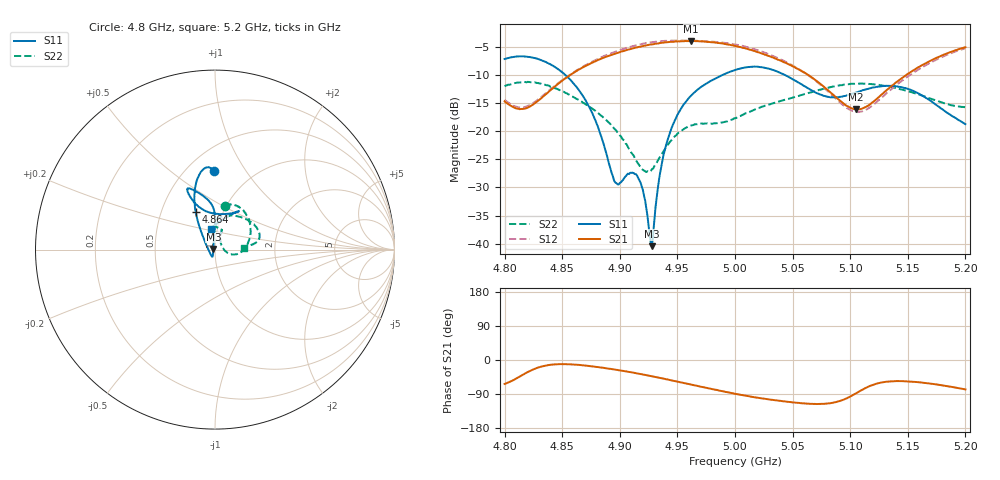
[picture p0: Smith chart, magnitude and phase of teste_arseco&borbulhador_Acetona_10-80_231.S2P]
! Network Analyzer HP8722D
! Hewlett-Packard
! Data name: Linha & Wilkinson
! Saver's name: Rodrigo Anjos
! Comments: Teste da utilização de aquisição
! continua pelo VNA HP8722D
! Time and date: 25/4/2025 17:11
!  Frequency  S11  S21  S12  S22
# HZ  S  MA R 50
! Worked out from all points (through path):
!   401 points, 4.8 GHz to 5.2 GHz, reference 50 ohm
!   highest |S21| = -4.00 dB at 4.962 GHz (marker M1); lowest = -16.2 dB at 5.105 GHz (marker M2)
!   lowest |S11| = -40.4 dB at 4.928 GHz (marker M3), VSWR 1.02, Z = 49.1 + j0.301 ohm
!   |S11| at or under -10 dB: 4.853 GHz to 4.99 GHz (137.1 MHz wide, 2.79 % of centre); 5.043 GHz to end of sweep
!   |S22| runs from -27.3 to -11.3 dB; largest |S21 - S12| = 1.2
!   S11 on the Smith chart (normalised r, x): 4.8 GHz: 0.67, +0.72; 4.864 GHz: 0.74, +0.33; 5.2 GHz: 0.93, +0.21
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4.8e9  0.4363 90.9  0.1841 -63.2  0.1893 70.0  0.2502 76.7
4.82e9  0.4553 97.3  0.1616 -31.8  0.1671 98.9  0.2736 61.6
4.844e9  0.3686 107.2  0.2509 -11.5  0.2538 119.2  0.2395 35.3
4.864e9  0.235 117.2  0.3499 -12.8  0.353 120.9  0.1896 11.9
4.867e9  0.2123 118.9  0.3637 -13.9  0.3673 120.6  0.1824 8.6
4.88e9  0.1155 129.2  0.4221 -18.5  0.4324 118.1  0.1473 -5.0
4.896e9  0.03504 -171.9  0.4874 -25.6  0.5067 113.1  0.1034 -15.1
4.916e9  0.0383 -108.7  0.5577 -36.0  0.5835 104.0  0.05128 -1.0
4.921e9  0.02682 -115.5  0.5725 -38.8  0.5993 101.2  0.04464 14.0
4.926e9  0.01177 -149.6  0.5853 -41.9  0.611 98.2  0.04356 34.8
4.928e9  0.009533 161.2  0.5891 -43.0  0.6147 96.8  0.04604 41.2
4.934e9  0.03682 102.1  0.6011 -46.7  0.6265 93.1  0.05725 58.0
4.939e9  0.06765 95.1  0.6121 -49.8  0.6321 89.9  0.06874 64.6
4.945e9  0.1069 91.4  0.6195 -53.8  0.6361 86.2  0.08337 68.7
4.962e9  0.2071 90.6  0.6307 -64.9  0.6356 75.3  0.1122 70.0
5e9  0.3479 109.3  0.5703 -89.2  0.5879 50.8  0.1302 87.9
5.029e9  0.3589 115.3  0.4655 -103.7  0.4823 34.2  0.1719 85.3
5.067e9  0.2287 105.8  0.2975 -115.6  0.2954 23.7  0.2225 56.9
5.105e9  0.2199 66.3  0.1557 -88.1  0.1479 54.9  0.2632 25.3
5.134e9  0.2521 58.3  0.2418 -56.5  0.2269 88.8  0.2473 12.2
5.168e9  0.1905 70.5  0.413 -61.8  0.3961 85.1  0.1966 7.0
5.2e9  0.1153 101.3  0.5549 -77.6  0.542 70.1  0.1628 3.7
